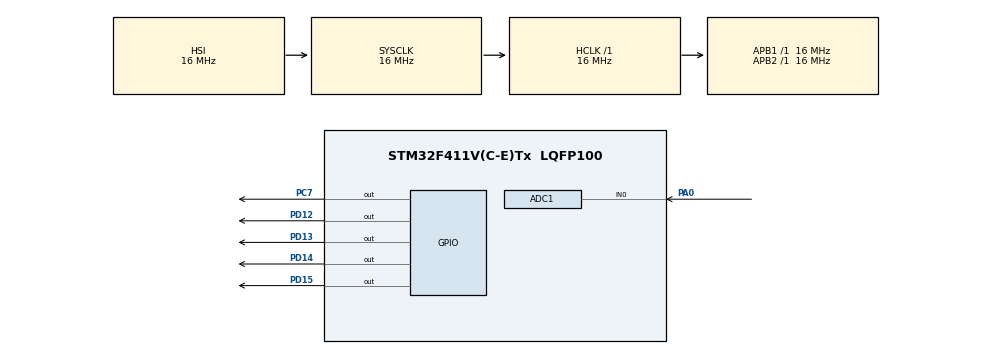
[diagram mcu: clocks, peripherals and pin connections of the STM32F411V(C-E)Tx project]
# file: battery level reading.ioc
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ADC1.Channel-0\#ChannelRegularConversion=ADC_CHANNEL_0
ADC1.NbrOfConversionFlag=1
ADC1.Rank-0\#ChannelRegularConversion=1
ADC1.SamplingTime-0\#ChannelRegularConversion=ADC_SAMPLETIME_3CYCLES
ADC1.master=1
Mcu.Family=STM32F4
Mcu.Name=STM32F411V(C-E)Tx
Mcu.Package=LQFP100
NVIC.PriorityGroup=NVIC_PRIORITYGROUP_4
PA0-WKUP.Signal=ADCx_IN0
PC7.Signal=GPIO_Output
PD12.Signal=GPIO_Output
PD13.Signal=GPIO_Output
PD14.Signal=GPIO_Output
PD15.Signal=GPIO_Output
ProjectManager.HeapSize=0x200
ProjectManager.StackSize=0x400
ProjectManager.TargetToolchain=STM32CubeIDE
RCC.AHBFreq_Value=16000000
RCC.APB1Freq_Value=16000000
RCC.APB2Freq_Value=16000000
RCC.CortexFreq_Value=16000000
RCC.HSE_VALUE=25000000
RCC.HSI_VALUE=16000000
RCC.LSE_VALUE=32768
RCC.SYSCLKFreq_VALUE=16000000
RCC.VCOOutputFreq_Value=192000000
SH.ADCx_IN0.0=ADC1_IN0,IN0
board=custom

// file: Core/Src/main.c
/* USER CODE BEGIN Header */
/**
  ******************************************************************************
  * @file           : main.c
  * @brief          : Main program body
  ******************************************************************************
  * @attention
  *
  * <h2><center>&copy; Copyright (c) 2021 STMicroelectronics.
  * All rights reserved.</center></h2>
  *
  * This software component is licensed by ST under BSD 3-Clause license,
  * the "License"; You may not use this file except in compliance with the
  * License. You may obtain a copy of the License at:
  *                        opensource.org/licenses/BSD-3-Clause
  *
  ******************************************************************************
  */
/* USER CODE END Header */
#include "main.h"

ADC_HandleTypeDef hadc1;

void SystemClock_Config(void);
static void MX_GPIO_Init(void);
static void MX_ADC1_Init(void);

int main(void)
{

  /* MCU Configuration--------------------------------------------------------*/

  /* Reset of all peripherals, Initializes the Flash interface and the Systick. */
  HAL_Init();

  /* Configure the system clock */
  SystemClock_Config();

  /* Initialize all configured peripherals */
  MX_GPIO_Init();
  MX_ADC1_Init();

  /* Infinite loop */
  /* USER CODE BEGIN WHILE */

  float raw;
  while (1)
  {
	  if(HAL_ADC_Start(&hadc1) == HAL_OK) {
		  if (HAL_ADC_PollForConversion(&hadc1, 1000000) == HAL_OK)
		  {
			  raw = HAL_ADC_GetValue(&hadc1);
		  }
	  }
	  float Vbatt2 = (raw / 4096.0) * 3 * 6;

	  //12.4, 12.8, 13.2, 13.6, 14
	  if (Vbatt2 > 14)
		  HAL_GPIO_WritePin(GPIOD, GPIO_PIN_12, 1);
	  else
		  HAL_GPIO_WritePin(GPIOD, GPIO_PIN_12, 0);

	  if (Vbatt2 > 13.6)
		  HAL_GPIO_WritePin(GPIOD, GPIO_PIN_13, 1);
	  else
		  HAL_GPIO_WritePin(GPIOD, GPIO_PIN_13, 0);

	  if (Vbatt2 > 13.2)
		  HAL_GPIO_WritePin(GPIOD, GPIO_PIN_14, 1);
	  else
		  HAL_GPIO_WritePin(GPIOD, GPIO_PIN_14, 0);

//	  if (Vbatt2 > 12.8)
//		  HAL_GPIO_WritePin(GPIOD, GPIO_PIN_15, 1);
//	  else
//		  HAL_GPIO_WritePin(GPIOD, GPIO_PIN_15, 0);

//	  if (Vbatt2 > 12.4)
		  HAL_GPIO_WritePin(GPIOC, GPIO_PIN_7, 1);
//	  else
//		  HAL_GPIO_WritePin(GPIOC, GPIO_PIN_7, 0);
    /* USER CODE END WHILE */

  }
}

void SystemClock_Config(void)
{
  RCC_OscInitTypeDef RCC_OscInitStruct = {0};
  RCC_ClkInitTypeDef RCC_ClkInitStruct = {0};

  /** Configure the main internal regulator output voltage
  */
  __HAL_RCC_PWR_CLK_ENABLE();
  __HAL_PWR_VOLTAGESCALING_CONFIG(PWR_REGULATOR_VOLTAGE_SCALE1);
  /** Initializes the RCC Oscillators according to the specified parameters
  * in the RCC_OscInitTypeDef structure.
  */
  RCC_OscInitStruct.OscillatorType = RCC_OSCILLATORTYPE_HSI;
  RCC_OscInitStruct.HSIState = RCC_HSI_ON;
  RCC_OscInitStruct.HSICalibrationValue = RCC_HSICALIBRATION_DEFAULT;
  RCC_OscInitStruct.PLL.PLLState = RCC_PLL_NONE;
  if (HAL_RCC_OscConfig(&RCC_OscInitStruct) != HAL_OK)
  {
    Error_Handler();
  }
  /** Initializes the CPU, AHB and APB buses clocks
  */
  RCC_ClkInitStruct.ClockType = RCC_CLOCKTYPE_HCLK|RCC_CLOCKTYPE_SYSCLK
                              |RCC_CLOCKTYPE_PCLK1|RCC_CLOCKTYPE_PCLK2;
  RCC_ClkInitStruct.SYSCLKSource = RCC_SYSCLKSOURCE_HSI;
  RCC_ClkInitStruct.AHBCLKDivider = RCC_SYSCLK_DIV1;
  RCC_ClkInitStruct.APB1CLKDivider = RCC_HCLK_DIV1;
  RCC_ClkInitStruct.APB2CLKDivider = RCC_HCLK_DIV1;

  if (HAL_RCC_ClockConfig(&RCC_ClkInitStruct, FLASH_LATENCY_0) != HAL_OK)
  {
    Error_Handler();
  }
}

static void MX_ADC1_Init(void)
{

  ADC_ChannelConfTypeDef sConfig = {0};

  /** Configure the global features of the ADC (Clock, Resolution, Data Alignment and number of conversion)
  */
  hadc1.Instance = ADC1;
  hadc1.Init.ClockPrescaler = ADC_CLOCK_SYNC_PCLK_DIV2;
  hadc1.Init.Resolution = ADC_RESOLUTION_12B;
  hadc1.Init.ScanConvMode = DISABLE;
  hadc1.Init.ContinuousConvMode = DISABLE;
  hadc1.Init.DiscontinuousConvMode = DISABLE;
  hadc1.Init.ExternalTrigConvEdge = ADC_EXTERNALTRIGCONVEDGE_NONE;
  hadc1.Init.ExternalTrigConv = ADC_SOFTWARE_START;
  hadc1.Init.DataAlign = ADC_DATAALIGN_RIGHT;
  hadc1.Init.NbrOfConversion = 1;
  hadc1.Init.DMAContinuousRequests = DISABLE;
  hadc1.Init.EOCSelection = ADC_EOC_SINGLE_CONV;
  if (HAL_ADC_Init(&hadc1) != HAL_OK)
  {
    Error_Handler();
  }
  /** Configure for the selected ADC regular channel its corresponding rank in the sequencer and its sample time.
  */
  sConfig.Channel = ADC_CHANNEL_0;
  sConfig.Rank = 1;
  sConfig.SamplingTime = ADC_SAMPLETIME_3CYCLES;
  if (HAL_ADC_ConfigChannel(&hadc1, &sConfig) != HAL_OK)
  {
    Error_Handler();
  }

}

static void MX_GPIO_Init(void)
{
  GPIO_InitTypeDef GPIO_InitStruct = {0};

  /* GPIO Ports Clock Enable */
  __HAL_RCC_GPIOA_CLK_ENABLE();
  __HAL_RCC_GPIOD_CLK_ENABLE();
  __HAL_RCC_GPIOC_CLK_ENABLE();

  /*Configure GPIO pin Output Level */
  HAL_GPIO_WritePin(GPIOD, GPIO_PIN_12|GPIO_PIN_13|GPIO_PIN_14|GPIO_PIN_15, GPIO_PIN_RESET);

  /*Configure GPIO pin Output Level */
  HAL_GPIO_WritePin(GPIOC, GPIO_PIN_7, GPIO_PIN_RESET);

  /*Configure GPIO pins : PD12 PD13 PD14 PD15 */
  GPIO_InitStruct.Pin = GPIO_PIN_12|GPIO_PIN_13|GPIO_PIN_14|GPIO_PIN_15;
  GPIO_InitStruct.Mode = GPIO_MODE_OUTPUT_PP;
  GPIO_InitStruct.Pull = GPIO_NOPULL;
  GPIO_InitStruct.Speed = GPIO_SPEED_FREQ_LOW;
  HAL_GPIO_Init(GPIOD, &GPIO_InitStruct);

  /*Configure GPIO pin : PC7 */
  GPIO_InitStruct.Pin = GPIO_PIN_7;
  GPIO_InitStruct.Mode = GPIO_MODE_OUTPUT_PP;
  GPIO_InitStruct.Pull = GPIO_NOPULL;
  GPIO_InitStruct.Speed = GPIO_SPEED_FREQ_LOW;
  HAL_GPIO_Init(GPIOC, &GPIO_InitStruct);

}

void Error_Handler(void)
{
}

/************************ (C) COPYRIGHT STMicroelectronics *****END OF FILE****/
